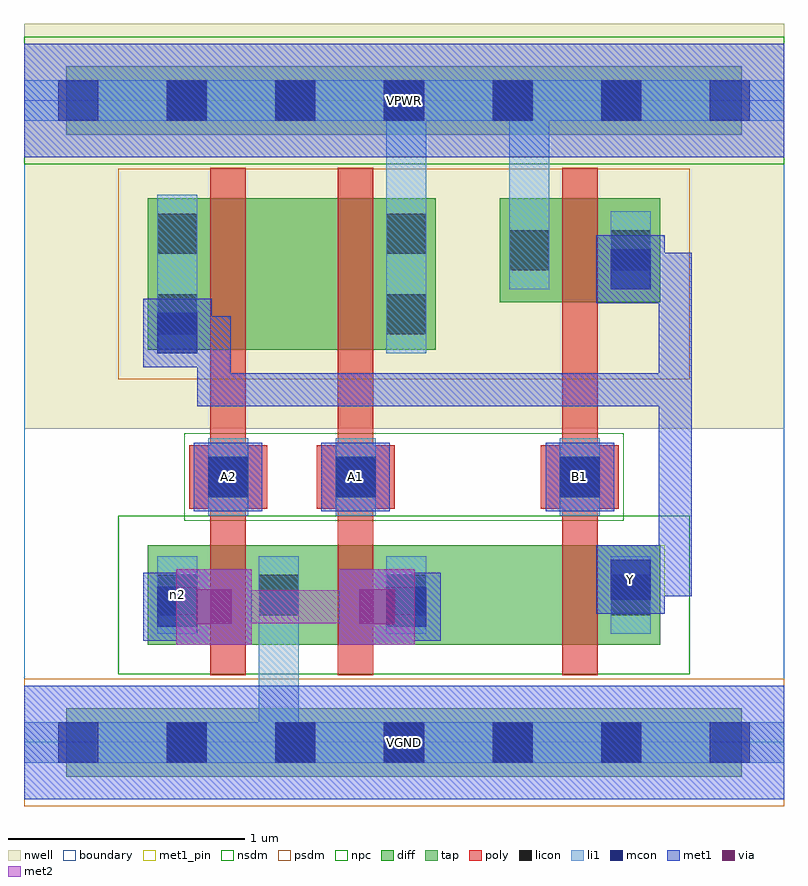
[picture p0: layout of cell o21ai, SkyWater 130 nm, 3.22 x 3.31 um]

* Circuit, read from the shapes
.subckt o21ai A1 A2 B1 VGND VPWR Y n2
XM1 VGND A2 n2 VGND sky130_fd_pr__nfet_01v8 w=0.42 l=0.15
XM2 n2 A1 VGND VGND sky130_fd_pr__nfet_01v8 w=0.42 l=0.15
XM3 Y B1 n2 VGND sky130_fd_pr__nfet_01v8 w=0.42 l=0.15
XM4 n1 A2 Y VPWR sky130_fd_pr__pfet_01v8 w=0.64 l=0.15
XM5 VPWR A1 n1 VPWR sky130_fd_pr__pfet_01v8 w=0.64 l=0.15
XM6 Y B1 VPWR VPWR sky130_fd_pr__pfet_01v8 w=0.44 l=0.15
.ends

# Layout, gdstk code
import gdstk
lib = gdstk.Library(unit=1e-6, precision=1e-09)
def R(c, l, rs):  # rectangles x0, y0, x1, y1
    for r in rs: c.add(gdstk.rectangle(r[:2], r[2:], *l))
def A(c, l, x, y, w, h, nx, ny, dx, dy):  # array of equal rectangles
    R(c, l, [(x+i*dx, y+j*dy, x+i*dx+w, y+j*dy+h) for i in range(nx) for j in range(ny)])
nwell = (64, 20)
diff = (65, 20)
tap = (65, 44)
poly = (66, 20)
licon = (66, 44)
li1 = (67, 20)
mcon = (67, 44)
met1_pin = (68, 16)
met1 = (68, 20)
via = (68, 44)
met2 = (69, 20)
nsdm = (93, 44)
psdm = (94, 20)
npc = (95, 20)
boundary = (235, 4)

o21ai = lib.new_cell('o21ai')
R(o21ai, nwell, [(0,1.33,3.22,3.045)])
R(o21ai, diff, [(0.525,0.415,2.695,0.835), (0.525,1.665,1.745,2.305), (2.015,1.865,2.695,2.305)])
R(o21ai, tap, [(0.18,-0.145,3.04,0.145), (0.18,2.575,3.04,2.865)])
R(o21ai, poly, [(0.79,0.285,0.94,2.435), (1.33,0.285,1.48,2.435), (2.28,0.285,2.43,2.435), (0.7,0.99,1.03,1.26), (1.24,0.99,1.57,1.26), (2.19,0.99,2.52,1.26)])
A(o21ai, licon, 0.605, -0.085, 0.17, 0.17, 5, 2, 0.46, 2.72)
R(o21ai, licon, [(0.565,0.54,0.735,0.71), (0.995,0.54,1.165,0.71), (1.535,0.54,1.705,0.71), (2.485,0.54,2.655,0.71), (0.78,1.04,0.95,1.21), (1.32,1.04,1.49,1.21), (2.27,1.04,2.44,1.21), (0.565,1.73,0.735,1.9), (1.535,1.73,1.705,1.9), (2.055,2,2.225,2.17), (2.485,2,2.655,2.17), (0.565,2.07,0.735,2.24), (1.535,2.07,1.705,2.24)])
R(o21ai, li1, [(0,-0.085,3.22,0.085), (0.995,-0.085,1.165,0.79), (0.565,0.46,0.735,0.79), (0.995,0.46,1.165,0.79), (1.535,0.46,1.705,0.79), (2.485,0.46,2.655,0.79), (0.78,0.96,0.95,1.29), (1.32,0.96,1.49,1.29), (2.27,0.96,2.44,1.29), (0.565,1.65,0.735,2.32), (1.535,1.65,1.705,2.32), (1.535,1.65,1.705,2.805), (2.055,1.92,2.225,2.25), (2.055,1.92,2.225,2.805), (2.485,1.92,2.655,2.25), (0,2.635,3.22,2.805)])
A(o21ai, mcon, 0.145, -0.085, 0.17, 0.17, 7, 2, 0.46, 2.72)
R(o21ai, mcon, [(0.565,0.49,0.735,0.66), (1.535,0.49,1.705,0.66), (2.485,0.605,2.655,0.775), (0.78,1.04,0.95,1.21), (1.32,1.04,1.49,1.21), (2.27,1.04,2.44,1.21), (0.565,1.65,0.735,1.82), (2.485,1.92,2.655,2.09)])
R(o21ai, met1_pin, [(0,-0.24,3.22,0.24), (2.425,0.545,2.715,0.835), (0.72,0.98,1.01,1.27), (1.26,0.98,1.55,1.27), (2.21,0.98,2.5,1.27), (0,2.48,3.22,2.96)])
R(o21ai, met1, [(0,-0.24,3.22,0.24), (0.645,0.415,0.965,0.735), (1.335,0.415,1.655,0.735), (0.505,0.43,0.795,0.72), (1.475,0.43,1.765,0.72), (0.58,0.505,0.875,0.645), (1.425,0.505,1.69,0.645), (2.425,0.545,2.715,0.835), (2.5,0.62,2.83,0.76), (2.69,0.62,2.83,1.91), (0.72,0.98,1.01,1.27), (1.26,0.98,1.55,1.27), (2.21,0.98,2.5,1.27), (0.735,1.425,2.83,1.565), (0.735,1.425,0.875,1.68), (0.735,1.54,0.875,1.805), (0.505,1.59,0.795,1.88), (0.58,1.665,0.875,1.805), (2.69,1.77,2.83,2.075), (2.425,1.86,2.715,2.15), (2.5,1.935,2.83,2.075), (0,2.48,3.22,2.96)])
R(o21ai, via, [(0.73,0.5,0.88,0.65), (1.42,0.5,1.57,0.65)])
R(o21ai, met2, [(0.645,0.415,0.965,0.735), (1.335,0.415,1.655,0.735), (0.735,0.505,1.565,0.645)])
R(o21ai, nsdm, [(0.4,0.29,2.82,0.96), (0,2.45,3.22,2.99)])
R(o21ai, psdm, [(0,-0.27,3.22,0.27), (0.4,1.54,2.82,2.43)])
R(o21ai, npc, [(0.68,0.94,2.54,1.31)])
R(o21ai, boundary, [(0,0,3.22,2.72)])
o21ai.add(gdstk.Label('n2', (0.65,0.625), layer=67, texttype=5))
o21ai.add(gdstk.Label('A1', (1.405,1.125), layer=68, texttype=5))
o21ai.add(gdstk.Label('A2', (0.865,1.125), layer=68, texttype=5))
o21ai.add(gdstk.Label('B1', (2.355,1.125), layer=68, texttype=5))
o21ai.add(gdstk.Label('Y', (2.57,0.69), layer=68, texttype=5))
o21ai.add(gdstk.Label('VPWR', (1.61,2.72), layer=68, texttype=5))
o21ai.add(gdstk.Label('VGND', (1.61,0), layer=68, texttype=5))
o21ai.add(gdstk.Label('A1', (1.405,1.125), layer=68, texttype=16))
o21ai.add(gdstk.Label('A2', (0.865,1.125), layer=68, texttype=16))
o21ai.add(gdstk.Label('B1', (2.355,1.125), layer=68, texttype=16))
o21ai.add(gdstk.Label('Y', (2.57,0.69), layer=68, texttype=16))
o21ai.add(gdstk.Label('VPWR', (1.61,2.72), layer=68, texttype=16))
o21ai.add(gdstk.Label('VGND', (1.61,0), layer=68, texttype=16))

lib.write_gds('o21ai.gds')
